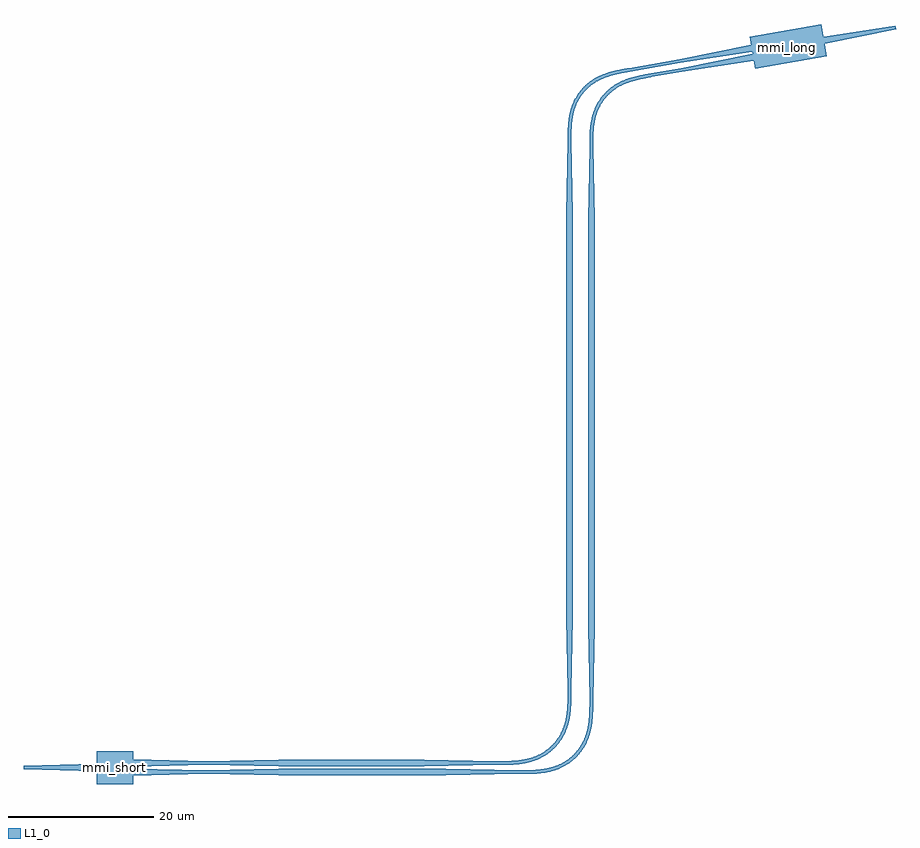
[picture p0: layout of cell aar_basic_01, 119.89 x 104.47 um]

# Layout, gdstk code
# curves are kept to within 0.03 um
from math import pi, radians
import gdstk
lib = gdstk.Library(unit=1e-6, precision=1e-09)
def R(c, l, rs):  # rectangles x0, y0, x1, y1
    for r in rs: c.add(gdstk.rectangle(r[:2], r[2:], *l))
def P(c, l, *ps):  # polygons
    for p in ps: c.add(gdstk.Polygon(p, *l))
L1_0 = (1, 0)

mmi1x2_length_mmi5_width = lib.new_cell('mmi1x2_length_mmi5_width_mmi4p5')
R(mmi1x2_length_mmi5_width, L1_0, [(0,-2.25,5,2.25)])
P(mmi1x2_length_mmi5_width, L1_0, [(-10,0.25),(0,0.5),(0,-0.5),(-10,-0.25)],
  [(15,0.375),(5,0.125),(5,1.125),(15,0.875)],
  [(15,-0.875),(5,-1.125),(5,-0.125),(15,-0.375)])

taper_width20p9 = lib.new_cell('taper_width20p9')
P(taper_width20p9, L1_0, [(0,0.25),(10,0.45),(10,-0.45),(0,-0.25)])

straight_8c617c1c = lib.new_cell('straight_8c617c1c')
R(straight_8c617c1c, L1_0, [(0,-0.45,20,0.45)])

bend_euler = lib.new_cell('bend_euler')
P(bend_euler, L1_0, [(0,-0.25),(1.532,-0.235),(2.795,-0.158),(3.776,-0.023),(4.746,0.203),(5.688,0.543),(6.455,0.934),(7.285,1.5),(7.928,2.072),(8.5,2.715),(9.066,3.545),(9.457,4.312),(9.797,5.254),(10.023,6.224),(10.158,7.205),(10.235,8.468),(10.25,10),(9.75,10),(9.731,8.345),(9.647,7.119),(9.48,6.048),(9.194,5.01),(8.887,4.269),(8.495,3.569),(8.024,2.921),(7.575,2.425),(7.079,1.976),(6.431,1.505),(5.731,1.113),(4.99,0.806),(3.952,0.52),(2.881,0.353),(1.655,0.269),(0,0.25)])

straight_be5e9c39 = lib.new_cell('straight_be5e9c39')
R(straight_be5e9c39, L1_0, [(0,-0.45,55.447,0.45)])

straight_0b702baa = lib.new_cell('straight_0b702baa')
R(straight_0b702baa, L1_0, [(0,-0.45,23,0.45)])

straight_bb3f3716 = lib.new_cell('straight_bb3f3716')
R(straight_bb3f3716, L1_0, [(0,-0.45,55.957,0.45)])

mmi1x2_transformed_82454 = lib.new_cell('mmi1x2_transformed_82454f0a')
P(mmi1x2_transformed_82454, L1_0, [(99.609,102.216),(89.761,100.479),(90.543,96.048),(100.391,97.784)],
  [(109.891,101.49),(100.087,99.508),(99.913,100.492),(109.805,101.983)],
  [(80.369,96.158),(90.174,98.14),(90.347,97.156),(80.456,95.665)],
  [(80.152,97.389),(89.957,99.371),(90.13,98.387),(80.239,96.896)])

taper_transformed_0c760c = lib.new_cell('taper_transformed_0c760cfa')
P(taper_transformed_0c760c, L1_0, [(65.25,86.072),(65.45,76.072),(64.55,76.072),(64.75,86.072)])

bend_euler_transformed_6 = lib.new_cell('bend_euler_transformed_667b43a2')
P(bend_euler_transformed_6, L1_0, [(65.25,86.072),(65.309,88.349),(65.414,89.27),(65.569,90.044),(65.796,90.794),(66.065,91.429),(66.398,92.034),(66.79,92.601),(67.239,93.125),(67.739,93.6),(68.285,94.021),(68.865,94.38),(69.693,94.773),(70.691,95.116),(71.853,95.402),(73.307,95.674),(73.22,96.166),(70.817,95.67),(69.893,95.384),(69.122,95.07),(68.374,94.674),(67.643,94.168),(67.085,93.68),(66.486,93.023),(65.896,92.17),(65.491,91.378),(65.194,90.567),(64.967,89.621),(64.791,88.114),(64.75,86.072)])

straight_transformed_d11 = lib.new_cell('straight_transformed_d11f930f')
P(straight_transformed_d11, L1_0, [(73.307,95.674),(80.239,96.896),(80.152,97.389),(73.22,96.166)])

taper_transformed_ba7e4b = lib.new_cell('taper_transformed_ba7e4bae')
P(taper_transformed_ba7e4b, L1_0, [(68.25,85.332),(68.45,75.332),(67.55,75.332),(67.75,85.332)])

bend_euler_transformed_5 = lib.new_cell('bend_euler_transformed_51ff6a37')
P(bend_euler_transformed_5, L1_0, [(68.25,85.332),(68.309,87.609),(68.414,88.53),(68.569,89.304),(68.796,90.054),(69.065,90.689),(69.471,91.41),(69.876,91.969),(70.739,92.859),(71.285,93.28),(71.865,93.64),(72.815,94.081),(73.818,94.412),(74.853,94.661),(76.307,94.934),(76.22,95.426),(73.817,94.93),(72.893,94.644),(71.996,94.27),(71.248,93.855),(70.527,93.334),(69.877,92.729),(69.394,92.166),(68.896,91.43),(68.434,90.502),(68.118,89.559),(67.92,88.607),(67.791,87.374),(67.75,85.332)])

straight_transformed_56c = lib.new_cell('straight_transformed_56c94855')
P(straight_transformed_56c, L1_0, [(76.307,94.934),(80.456,95.665),(80.369,96.158),(76.22,95.426)])

aar_basic_01 = lib.new_cell('aar_basic_01')
aar_basic_01.add(gdstk.Reference(mmi1x2_length_mmi5_width, (0,0)))
aar_basic_01.add(gdstk.Reference(taper_width20p9, (15,0.625)))
aar_basic_01.add(gdstk.Reference(straight_8c617c1c, (25,0.625)))
aar_basic_01.add(gdstk.Reference(taper_width20p9, (55,0.625), rotation=pi))
aar_basic_01.add(gdstk.Reference(bend_euler, (55,0.625)))
aar_basic_01.add(gdstk.Reference(taper_width20p9, (65,10.625), rotation=pi/2))
aar_basic_01.add(gdstk.Reference(straight_be5e9c39, (65,20.625), rotation=pi/2))
aar_basic_01.add(gdstk.Reference(taper_width20p9, (15,-0.625)))
aar_basic_01.add(gdstk.Reference(straight_0b702baa, (25,-0.625)))
aar_basic_01.add(gdstk.Reference(taper_width20p9, (58,-0.625), rotation=pi))
aar_basic_01.add(gdstk.Reference(bend_euler, (58,-0.625)))
aar_basic_01.add(gdstk.Reference(taper_width20p9, (68,9.375), rotation=pi/2))
aar_basic_01.add(gdstk.Reference(straight_bb3f3716, (68,19.375), rotation=pi/2))
aar_basic_01.add(gdstk.Reference(mmi1x2_transformed_82454, (0,0)))
aar_basic_01.add(gdstk.Reference(taper_transformed_0c760c, (0,0)))
aar_basic_01.add(gdstk.Reference(bend_euler_transformed_6, (0,0)))
aar_basic_01.add(gdstk.Reference(straight_transformed_d11, (0,0)))
aar_basic_01.add(gdstk.Reference(taper_transformed_ba7e4b, (0,0)))
aar_basic_01.add(gdstk.Reference(bend_euler_transformed_5, (0,0)))
aar_basic_01.add(gdstk.Reference(straight_transformed_56c, (0,0)))
aar_basic_01.add(gdstk.Label('mmi_long', (95.021,98.94), layer=206, texttype=0))
aar_basic_01.add(gdstk.Label('mmi_short', (2.5,0), layer=206, texttype=0))

lib.write_gds('aar_basic_01.gds')
